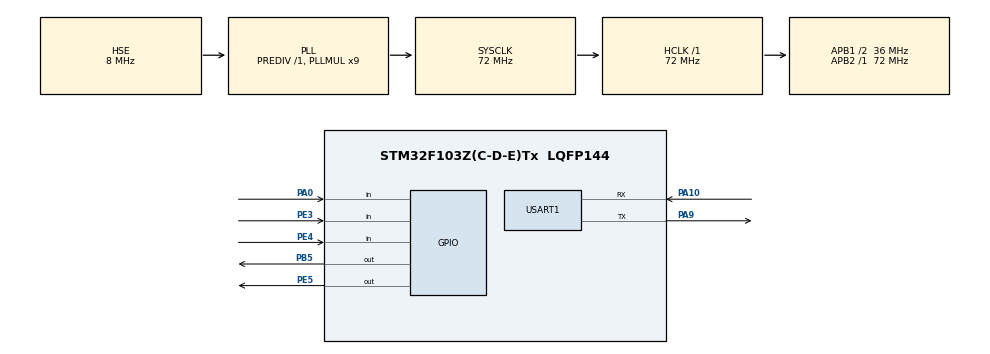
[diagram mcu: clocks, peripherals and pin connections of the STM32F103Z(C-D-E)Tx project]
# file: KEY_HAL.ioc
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Mcu.Family=STM32F1
Mcu.Name=STM32F103Z(C-D-E)Tx
Mcu.Package=LQFP144
NVIC.PriorityGroup=NVIC_PRIORITYGROUP_4
NVIC.USART1_IRQn=true\:0\:0\:false\:false\:true\:true\:true\:true
OSC_IN.Mode=HSE-External-Oscillator
OSC_IN.Signal=RCC_OSC_IN
OSC_OUT.Mode=HSE-External-Oscillator
OSC_OUT.Signal=RCC_OSC_OUT
PA0-WKUP.GPIO_PuPd=GPIO_PULLDOWN
PA0-WKUP.Signal=GPIO_Input
PA10.Mode=Asynchronous
PA10.Signal=USART1_RX
PA13.Mode=Serial_Wire
PA13.Signal=SYS_JTMS-SWDIO
PA14.Mode=Serial_Wire
PA14.Signal=SYS_JTCK-SWCLK
PA9.Mode=Asynchronous
PA9.Signal=USART1_TX
PB5.Signal=GPIO_Output
PE3.GPIO_PuPd=GPIO_PULLUP
PE3.Signal=GPIO_Input
PE4.GPIO_PuPd=GPIO_PULLUP
PE4.Signal=GPIO_Input
PE5.Signal=GPIO_Output
ProjectManager.HeapSize=0x200
ProjectManager.StackSize=0x400
ProjectManager.TargetToolchain=MDK-ARM V5.32
RCC.AHBFreq_Value=72000000
RCC.APB1CLKDivider=RCC_HCLK_DIV2
RCC.APB1Freq_Value=36000000
RCC.APB1TimFreq_Value=72000000
RCC.APB2Freq_Value=72000000
RCC.APB2TimFreq_Value=72000000
RCC.HCLKFreq_Value=72000000
RCC.PLLMUL=RCC_PLL_MUL9
RCC.PLLSourceVirtual=RCC_PLLSOURCE_HSE
RCC.SYSCLKFreq_VALUE=72000000
RCC.SYSCLKSource=RCC_SYSCLKSOURCE_PLLCLK
RCC.USBFreq_Value=72000000
USART1.VirtualMode=VM_ASYNC
board=custom

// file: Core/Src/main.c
/* USER CODE BEGIN Header */
/**
  ******************************************************************************
  * @file           : main.c
  * @brief          : Main program body
  ******************************************************************************
  * @attention
  *
  * Copyright (c) 2024 STMicroelectronics.
  * All rights reserved.
  *
  * This software is licensed under terms that can be found in the LICENSE file
  * in the root directory of this software component.
  * If no LICENSE file comes with this software, it is provided AS-IS.
  *
  ******************************************************************************
  */
/* USER CODE END Header */
#include "main.h"
#include "usart.h"
#include "gpio.h"

/* USER CODE BEGIN Includes */
#include "key.h"
#include "led.h"
#include <stdio.h>
/* USER CODE END Includes */

void SystemClock_Config(void);

int main(void)
{

  /* MCU Configuration--------------------------------------------------------*/

  /* Reset of all peripherals, Initializes the Flash interface and the Systick. */
  HAL_Init();

  /* Configure the system clock */
  SystemClock_Config();

  /* Initialize all configured peripherals */
  MX_GPIO_Init();
  MX_USART1_UART_Init();

  /* Infinite loop */
  /* USER CODE BEGIN WHILE */
  uint8_t keyNum;
  printf("开始测试：\r\n");
  while (1)
  {
	  HAL_Delay(10);
	  Key_Scan();
	  if(KeyValue == KEY_0)
	  {
		if(KeyType == SHORT_KEY)
		{
			printf("KEY_0短按\r\n");
			KeyValue = KEY_NULL;
			KeyType = NULL_KEY;
		}
		else if(KeyType == LONG_KEY)
		{
			printf("KEY_0长按\r\n");
			KeyValue = KEY_NULL;
			KeyType = NULL_KEY;
		}
	  }
	  else if(KeyValue == KEY_1)
	  {
		if(KeyType == SHORT_KEY)
		{
			printf("KEY_1短按\r\n");
			KeyValue = KEY_NULL;
			KeyType = NULL_KEY;
		}
		else if(KeyType == LONG_KEY)
		{
			printf("KEY_1长按\r\n");
			KeyValue = KEY_NULL;
			KeyType = NULL_KEY;
		}
	  }
	  else if(KeyValue == KEY_WK_UP)
	  {
		if(KeyType == SHORT_KEY)
		{
			printf("KEY_WK_UP短按\r\n");
			KeyValue = KEY_NULL;
			KeyType = NULL_KEY;
		}
		else if(KeyType == LONG_KEY)
		{
			printf("KEY_WK_UP长按\r\n");
			KeyValue = KEY_NULL;
			KeyType = NULL_KEY;
		}
	  }

	  //printf("KeyType:%d\r\n", KeyType);

//	 keyNum = Key_GetNum();
//	 if(keyNum == KEY0)
//	 {
//		led1_reverse();
//	 }
//	 else if(keyNum == KEY1)
//	 {
//		led2_reverse();
//	 }
//	 else if(keyNum == KEY_UP)
//	 {
//		led1_reverse();
//		led2_reverse();
//	 }
    /* USER CODE END WHILE */

  }
}

void SystemClock_Config(void)
{
  RCC_OscInitTypeDef RCC_OscInitStruct = {0};
  RCC_ClkInitTypeDef RCC_ClkInitStruct = {0};

  /** Initializes the RCC Oscillators according to the specified parameters
  * in the RCC_OscInitTypeDef structure.
  */
  RCC_OscInitStruct.OscillatorType = RCC_OSCILLATORTYPE_HSE;
  RCC_OscInitStruct.HSEState = RCC_HSE_ON;
  RCC_OscInitStruct.HSEPredivValue = RCC_HSE_PREDIV_DIV1;
  RCC_OscInitStruct.HSIState = RCC_HSI_ON;
  RCC_OscInitStruct.PLL.PLLState = RCC_PLL_ON;
  RCC_OscInitStruct.PLL.PLLSource = RCC_PLLSOURCE_HSE;
  RCC_OscInitStruct.PLL.PLLMUL = RCC_PLL_MUL9;
  if (HAL_RCC_OscConfig(&RCC_OscInitStruct) != HAL_OK)
  {
    Error_Handler();
  }

  /** Initializes the CPU, AHB and APB buses clocks
  */
  RCC_ClkInitStruct.ClockType = RCC_CLOCKTYPE_HCLK|RCC_CLOCKTYPE_SYSCLK
                              |RCC_CLOCKTYPE_PCLK1|RCC_CLOCKTYPE_PCLK2;
  RCC_ClkInitStruct.SYSCLKSource = RCC_SYSCLKSOURCE_PLLCLK;
  RCC_ClkInitStruct.AHBCLKDivider = RCC_SYSCLK_DIV1;
  RCC_ClkInitStruct.APB1CLKDivider = RCC_HCLK_DIV2;
  RCC_ClkInitStruct.APB2CLKDivider = RCC_HCLK_DIV1;

  if (HAL_RCC_ClockConfig(&RCC_ClkInitStruct, FLASH_LATENCY_2) != HAL_OK)
  {
    Error_Handler();
  }
}

void Error_Handler(void)
{
  __disable_irq();
  while (1)
  {
  }
}
